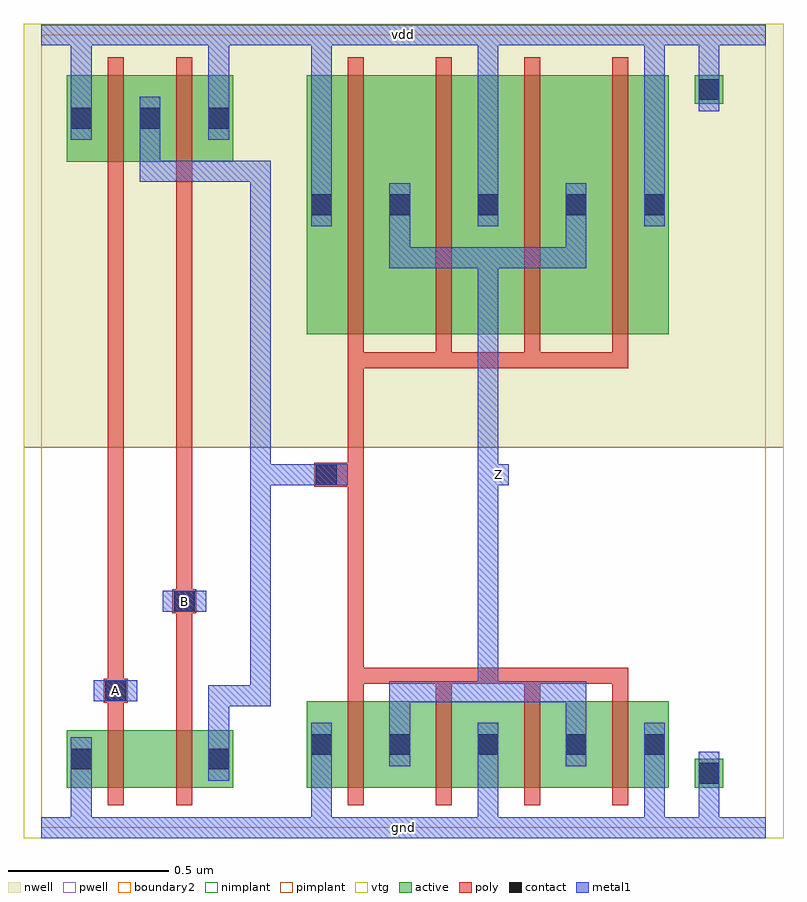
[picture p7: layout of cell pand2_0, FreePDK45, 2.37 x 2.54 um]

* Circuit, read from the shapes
.subckt pand2_0 A B Z gnd vdd
M1 pnand2_0_0/nmos_m1_w0_180_sm1_dactive_2/D A gnd gnd nfet w=0.18u l=0.05u
M2 pdriver_0_1/A B pnand2_0_0/nmos_m1_w0_180_sm1_dactive_2/D gnd nfet w=0.18u l=0.05u
M3 Z pdriver_0_1/A gnd gnd nfet w=0.27u l=0.05u m=4
M4 pdriver_0_1/A A vdd vdd pfet w=0.27u l=0.05u
M5 vdd B pdriver_0_1/A vdd pfet w=0.27u l=0.05u
M6 Z pdriver_0_1/A vdd vdd pfet w=0.81u l=0.05u m=4
.ends

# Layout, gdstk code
import gdstk
lib = gdstk.Library(unit=1e-6, precision=5e-10)
def R(c, l, rs):  # rectangles x0, y0, x1, y1
    for r in rs: c.add(gdstk.rectangle(r[:2], r[2:], *l))
def A(c, l, x, y, w, h, nx, ny, dx, dy):  # array of equal rectangles
    R(c, l, [(x+i*dx, y+j*dy, x+i*dx+w, y+j*dy+h) for i in range(nx) for j in range(ny)])
active = (1, 0)
pwell = (2, 0)
nwell = (3, 0)
nimplant = (4, 0)
pimplant = (5, 0)
vtg = (6, 0)
poly = (9, 0)
contact = (10, 0)
metal1 = (11, 0)
boundary2 = (239, 0)

contact_10 = lib.new_cell('contact_10')
R(contact_10, active, [(0,0.0225,0.09,0.1125)])
R(contact_10, nwell, [(-0.055,-0.0325,0.145,0.1675)])
R(contact_10, pimplant, [(0,0.0225,0.09,0.1125)])
R(contact_10, contact, [(0.0125,0.035,0.0775,0.1)])
R(contact_10, metal1, [(0.0125,0,0.0775,0.135)])
R(contact_10, boundary2, [(-0.055,-0.0325,0.145,0.1675)])

pmos_m1_w0_270_sm1_dm1 = lib.new_cell('pmos_m1_w0_270_sm1_dm1')
R(pmos_m1_w0_270_sm1_dm1, active, [(0,0,0.305,0.27)])
R(pmos_m1_w0_270_sm1_dm1, nwell, [(-0.08,-0.08,0.385,0.35)])
R(pmos_m1_w0_270_sm1_dm1, pimplant, [(0,0,0.305,0.27)])
R(pmos_m1_w0_270_sm1_dm1, vtg, [(-0.08,-0.08,0.385,0.35)])
R(pmos_m1_w0_270_sm1_dm1, poly, [(0.1275,-0.055,0.1775,0.325), (0.1275,-0.055,0.1775,0.325)])
R(pmos_m1_w0_270_sm1_dm1, metal1, [(0.0125,0.0675,0.0775,0.2025), (0.2275,0.0675,0.2925,0.2025)])
R(pmos_m1_w0_270_sm1_dm1, boundary2, [(-0.08,-0.08,0.385,0.35)])
pmos_m1_w0_270_sm1_dm1.add(gdstk.Reference(contact_10, (0,0.0675)))
pmos_m1_w0_270_sm1_dm1.add(gdstk.Reference(contact_10, (0.215,0.0675)))
pmos_m1_w0_270_sm1_dm1.add(gdstk.Label('S', (0.045,0.135), layer=11, texttype=0))
pmos_m1_w0_270_sm1_dm1.add(gdstk.Label('D', (0.26,0.135), layer=11, texttype=0))
pmos_m1_w0_270_sm1_dm1.add(gdstk.Label('G', (0.1525,0.135), layer=9, texttype=0))

contact_9 = lib.new_cell('contact_9')
R(contact_9, active, [(0,0.0225,0.09,0.1125)])
R(contact_9, pwell, [(-0.055,-0.0325,0.145,0.1675)])
R(contact_9, nimplant, [(0,0.0225,0.09,0.1125)])
R(contact_9, contact, [(0.0125,0.035,0.0775,0.1)])
R(contact_9, metal1, [(0.0125,0,0.0775,0.135)])
R(contact_9, boundary2, [(-0.055,-0.0325,0.145,0.1675)])

nmos_m1_w0_180_sm1_dacti = lib.new_cell('nmos_m1_w0_180_sm1_dactive')
R(nmos_m1_w0_180_sm1_dacti, active, [(0,0,0.305,0.18), (0.215,0.045,0.305,0.135)])
R(nmos_m1_w0_180_sm1_dacti, pwell, [(-0.08,-0.08,0.385,0.26)])
R(nmos_m1_w0_180_sm1_dacti, nimplant, [(0,0,0.305,0.18)])
R(nmos_m1_w0_180_sm1_dacti, vtg, [(-0.08,-0.08,0.385,0.26)])
R(nmos_m1_w0_180_sm1_dacti, poly, [(0.1275,-0.055,0.1775,0.235), (0.1275,-0.055,0.1775,0.235)])
R(nmos_m1_w0_180_sm1_dacti, metal1, [(0.0125,0.0225,0.0775,0.1575)])
R(nmos_m1_w0_180_sm1_dacti, boundary2, [(-0.08,-0.08,0.385,0.26)])
nmos_m1_w0_180_sm1_dacti.add(gdstk.Reference(contact_9, (0,0.0225)))
nmos_m1_w0_180_sm1_dacti.add(gdstk.Label('S', (0.045,0.09), layer=11, texttype=0))
nmos_m1_w0_180_sm1_dacti.add(gdstk.Label('D', (0.26,0.09), layer=1, texttype=0))
nmos_m1_w0_180_sm1_dacti.add(gdstk.Label('G', (0.1525,0.09), layer=9, texttype=0))

nmos_m1_w0_180_sactive_d = lib.new_cell('nmos_m1_w0_180_sactive_dm1')
R(nmos_m1_w0_180_sactive_d, active, [(0,0,0.305,0.18), (0,0.045,0.09,0.135)])
R(nmos_m1_w0_180_sactive_d, pwell, [(-0.08,-0.08,0.385,0.26)])
R(nmos_m1_w0_180_sactive_d, nimplant, [(0,0,0.305,0.18)])
R(nmos_m1_w0_180_sactive_d, vtg, [(-0.08,-0.08,0.385,0.26)])
R(nmos_m1_w0_180_sactive_d, poly, [(0.1275,-0.055,0.1775,0.235), (0.1275,-0.055,0.1775,0.235)])
R(nmos_m1_w0_180_sactive_d, metal1, [(0.2275,0.0225,0.2925,0.1575)])
R(nmos_m1_w0_180_sactive_d, boundary2, [(-0.08,-0.08,0.385,0.26)])
nmos_m1_w0_180_sactive_d.add(gdstk.Reference(contact_9, (0.215,0.0225)))
nmos_m1_w0_180_sactive_d.add(gdstk.Label('D', (0.26,0.09), layer=11, texttype=0))
nmos_m1_w0_180_sactive_d.add(gdstk.Label('S', (0.045,0.09), layer=1, texttype=0))
nmos_m1_w0_180_sactive_d.add(gdstk.Label('G', (0.1525,0.09), layer=9, texttype=0))

contact_13 = lib.new_cell('contact_13')
R(contact_13, poly, [(0.03,0,0.105,0.075)])
R(contact_13, contact, [(0.035,0.005,0.1,0.07)])
R(contact_13, metal1, [(0,0.005,0.135,0.07)])
R(contact_13, boundary2, [(0,0,0.135,0.075)])

pnand2_0 = lib.new_cell('pnand2_0')
R(pnand2_0, pwell, [(-0.055,-0.0325,0.805,1.1875)])
R(pnand2_0, nwell, [(-0.055,1.1875,0.805,2.51)])
R(pnand2_0, vtg, [(-0.055,-0.0325,0.805,1.1875), (-0.055,1.1875,0.805,2.51)])
R(pnand2_0, poly, [(0.2075,0.36,0.2575,2.025), (0.4225,0.36,0.4725,2.025), (0.2075,0.39,0.2325,0.465), (0.4225,0.67,0.4475,0.745)])
R(pnand2_0, metal1, [(0,-0.0325,0.75,0.0325), (0.0925,-0.0325,0.1575,0.1475), (0.5225,0.2825,0.5875,0.4125), (0.5225,0.38,0.5875,0.445), (0.555,0.38,0.685,0.445), (0.6525,0.38,0.7175,0.445), (0.165,0.395,0.3,0.46), (0.6525,0.4125,0.7175,2.05), (0.38,0.675,0.515,0.74), (0.3075,2.0175,0.3725,2.0825), (0.34,2.0175,0.685,2.0825), (0.6525,2.0175,0.7175,2.0825), (0.3075,2.05,0.3725,2.1475), (0.0925,2.1475,0.1575,2.5075), (0.5225,2.1475,0.5875,2.5075), (0,2.4425,0.75,2.5075)])
R(pnand2_0, boundary2, [(0,0,0.75,2.475), (0,0,0.75,2.475)])
pnand2_0.add(gdstk.Reference(pmos_m1_w0_270_sm1_dm1, (0.08,2.08)))
pnand2_0.add(gdstk.Reference(pmos_m1_w0_270_sm1_dm1, (0.295,2.08)))
pnand2_0.add(gdstk.Reference(nmos_m1_w0_180_sm1_dacti, (0.08,0.125)))
pnand2_0.add(gdstk.Reference(nmos_m1_w0_180_sactive_d, (0.295,0.125)))
pnand2_0.add(gdstk.Reference(contact_13, (0.165,0.39)))
pnand2_0.add(gdstk.Reference(contact_13, (0.38,0.67)))
pnand2_0.add(gdstk.Label('Z', (0.685,2.05), layer=11, texttype=0))
pnand2_0.add(gdstk.Label('gnd', (0.375,0), layer=11, texttype=0))
pnand2_0.add(gdstk.Label('vdd', (0.375,2.475), layer=11, texttype=0))
pnand2_0.add(gdstk.Label('A', (0.2325,0.4275), layer=11, texttype=0))
pnand2_0.add(gdstk.Label('B', (0.4475,0.7075), layer=11, texttype=0))

pmos_m4_w0_810_sm1_dm1_d = lib.new_cell('pmos_m4_w0_810_sm1_dm1_da_p')
R(pmos_m4_w0_810_sm1_dm1_d, active, [(0,0,1.13,0.81)])
R(pmos_m4_w0_810_sm1_dm1_d, nwell, [(-0.08,-0.08,1.21,0.89)])
R(pmos_m4_w0_810_sm1_dm1_d, pimplant, [(0,0,1.13,0.81)])
R(pmos_m4_w0_810_sm1_dm1_d, vtg, [(-0.08,-0.08,1.21,0.89)])
A(pmos_m4_w0_810_sm1_dm1_d, poly, 0.1275, -0.055, 0.05, 0.92, 4, 1, 0.275, 0)
R(pmos_m4_w0_810_sm1_dm1_d, poly, [(0.1275,-0.105,1.0025,-0.055)])
A(pmos_m4_w0_810_sm1_dm1_d, metal1, 0.0125, 0.3375, 0.065, 0.135, 3, 1, 0.52, 0)
R(pmos_m4_w0_810_sm1_dm1_d, metal1, [(0.2575,0.2075,0.8725,0.2725), (0.2575,0.24,0.3225,0.405), (0.8075,0.24,0.8725,0.405)])
R(pmos_m4_w0_810_sm1_dm1_d, boundary2, [(-0.08,-0.105,1.21,0.89)])
pmos_m4_w0_810_sm1_dm1_d.add(gdstk.Reference(contact_10, (0,0.3375)))
pmos_m4_w0_810_sm1_dm1_d.add(gdstk.Reference(contact_10, (0.245,0.3375)))
pmos_m4_w0_810_sm1_dm1_d.add(gdstk.Reference(contact_10, (0.52,0.3375)))
pmos_m4_w0_810_sm1_dm1_d.add(gdstk.Reference(contact_10, (0.795,0.3375)))
pmos_m4_w0_810_sm1_dm1_d.add(gdstk.Reference(contact_10, (1.04,0.3375)))
pmos_m4_w0_810_sm1_dm1_d.add(gdstk.Label('S', (0.045,0.405), layer=11, texttype=0))
pmos_m4_w0_810_sm1_dm1_d.add(gdstk.Label('S', (1.085,0.405), layer=11, texttype=0))
pmos_m4_w0_810_sm1_dm1_d.add(gdstk.Label('S', (0.565,0.405), layer=11, texttype=0))
pmos_m4_w0_810_sm1_dm1_d.add(gdstk.Label('D', (0.565,0.24), layer=11, texttype=0))
pmos_m4_w0_810_sm1_dm1_d.add(gdstk.Label('G', (0.565,-0.08), layer=9, texttype=0))

nmos_m4_w0_270_sm1_dm1_d = lib.new_cell('nmos_m4_w0_270_sm1_dm1_da_p')
R(nmos_m4_w0_270_sm1_dm1_d, active, [(0,0,1.13,0.27)])
R(nmos_m4_w0_270_sm1_dm1_d, pwell, [(-0.08,-0.08,1.21,0.35)])
R(nmos_m4_w0_270_sm1_dm1_d, nimplant, [(0,0,1.13,0.27)])
R(nmos_m4_w0_270_sm1_dm1_d, vtg, [(-0.08,-0.08,1.21,0.35)])
A(nmos_m4_w0_270_sm1_dm1_d, poly, 0.1275, -0.055, 0.05, 0.38, 4, 1, 0.275, 0)
R(nmos_m4_w0_270_sm1_dm1_d, poly, [(0.1275,0.325,1.0025,0.375)])
A(nmos_m4_w0_270_sm1_dm1_d, metal1, 0.0125, 0.0675, 0.065, 0.135, 3, 1, 0.52, 0)
R(nmos_m4_w0_270_sm1_dm1_d, metal1, [(0.2575,0.135,0.3225,0.3), (0.8075,0.135,0.8725,0.3), (0.2575,0.2675,0.8725,0.3325)])
R(nmos_m4_w0_270_sm1_dm1_d, boundary2, [(-0.08,-0.08,1.21,0.375)])
nmos_m4_w0_270_sm1_dm1_d.add(gdstk.Reference(contact_9, (0,0.0675)))
nmos_m4_w0_270_sm1_dm1_d.add(gdstk.Reference(contact_9, (0.245,0.0675)))
nmos_m4_w0_270_sm1_dm1_d.add(gdstk.Reference(contact_9, (0.52,0.0675)))
nmos_m4_w0_270_sm1_dm1_d.add(gdstk.Reference(contact_9, (0.795,0.0675)))
nmos_m4_w0_270_sm1_dm1_d.add(gdstk.Reference(contact_9, (1.04,0.0675)))
nmos_m4_w0_270_sm1_dm1_d.add(gdstk.Label('S', (0.045,0.135), layer=11, texttype=0))
nmos_m4_w0_270_sm1_dm1_d.add(gdstk.Label('S', (0.565,0.135), layer=11, texttype=0))
nmos_m4_w0_270_sm1_dm1_d.add(gdstk.Label('S', (1.085,0.135), layer=11, texttype=0))
nmos_m4_w0_270_sm1_dm1_d.add(gdstk.Label('D', (0.565,0.3), layer=11, texttype=0))
nmos_m4_w0_270_sm1_dm1_d.add(gdstk.Label('G', (0.565,0.35), layer=9, texttype=0))

contact_11 = lib.new_cell('contact_11')
R(contact_11, active, [(0,0.0225,0.09,0.1125)])
R(contact_11, nwell, [(-0.055,-0.0325,0.145,0.1675)])
R(contact_11, nimplant, [(0,0.0225,0.09,0.1125)])
R(contact_11, contact, [(0.0125,0.035,0.0775,0.1)])
R(contact_11, metal1, [(0.0125,0,0.0775,0.135)])
R(contact_11, boundary2, [(-0.055,-0.0325,0.145,0.1675)])

contact_12 = lib.new_cell('contact_12')
R(contact_12, active, [(0,0.0225,0.09,0.1125)])
R(contact_12, pwell, [(-0.055,-0.0325,0.145,0.1675)])
R(contact_12, pimplant, [(0,0.0225,0.09,0.1125)])
R(contact_12, contact, [(0.0125,0.035,0.0775,0.1)])
R(contact_12, metal1, [(0.0125,0,0.0775,0.135)])
R(contact_12, boundary2, [(-0.055,-0.0325,0.145,0.1675)])

pinv_5 = lib.new_cell('pinv_5')
R(pinv_5, pwell, [(-0.055,-0.0325,1.5675,1.1875)])
R(pinv_5, nwell, [(-0.055,1.1875,1.5675,2.51)])
R(pinv_5, vtg, [(-0.055,-0.0325,1.5675,1.1875), (-0.055,1.1875,1.5675,2.51)])
R(pinv_5, poly, [(0.2075,0.5,0.2575,1.435), (0.14,1.065,0.2075,1.14)])
A(pinv_5, metal1, 0.0925, -0.0325, 0.065, 0.225, 3, 1, 0.52, 0)
A(pinv_5, metal1, 0.0925, 1.8775, 0.065, 0.63, 3, 1, 0.52, 0)
R(pinv_5, metal1, [(0,-0.0325,1.5125,0.0325), (1.3025,0,1.3675,0.17), (0.6125,0.3925,0.6775,1.8125), (0.0725,1.07,0.2075,1.135), (0.645,1.07,0.71,1.135), (1.3025,2.305,1.3675,2.475), (0,2.4425,1.5125,2.5075)])
R(pinv_5, boundary2, [(0,0,1.5125,2.475), (0,0,1.5125,2.475)])
pinv_5.add(gdstk.Reference(pmos_m4_w0_810_sm1_dm1_d, (0.08,1.54)))
pinv_5.add(gdstk.Reference(nmos_m4_w0_270_sm1_dm1_d, (0.08,0.125)))
pinv_5.add(gdstk.Reference(contact_11, (1.29,2.2375)))
pinv_5.add(gdstk.Reference(contact_12, (1.29,0.1025)))
pinv_5.add(gdstk.Reference(contact_13, (0.0725,1.065)))
pinv_5.add(gdstk.Label('A', (0.14,1.1025), layer=11, texttype=0))
pinv_5.add(gdstk.Label('Z', (0.6775,1.1025), layer=11, texttype=0))
pinv_5.add(gdstk.Label('gnd', (0.756,0), layer=11, texttype=0))
pinv_5.add(gdstk.Label('vdd', (0.756,2.475), layer=11, texttype=0))

pdriver_0 = lib.new_cell('pdriver_0')
R(pdriver_0, pwell, [(-0.055,-0.0325,1.5675,1.1875)])
R(pdriver_0, nwell, [(-0.055,1.1875,1.5675,2.51)])
R(pdriver_0, vtg, [(-0.055,-0.0325,1.5675,1.1875), (-0.055,1.1875,1.5675,2.51)])
R(pdriver_0, metal1, [(0,-0.0325,1.5125,0.0325), (0.0725,1.07,0.2075,1.135), (0.645,1.07,0.71,1.135), (0,2.4425,1.5125,2.5075)])
R(pdriver_0, boundary2, [(0,0,1.5125,2.475), (0,0,1.5125,2.475)])
pdriver_0.add(gdstk.Reference(pinv_5, (0,0)))
pdriver_0.add(gdstk.Label('Z', (0.6775,1.1025), layer=11, texttype=0))
pdriver_0.add(gdstk.Label('A', (0.14,1.1025), layer=11, texttype=0))
pdriver_0.add(gdstk.Label('gnd', (0.756,0), layer=11, texttype=0))
pdriver_0.add(gdstk.Label('vdd', (0.756,2.475), layer=11, texttype=0))

pand2_0 = lib.new_cell('pand2_0')
R(pand2_0, metal1, [(0,-0.0325,2.2625,0.0325), (0.165,0.395,0.3,0.46), (0.38,0.675,0.515,0.74), (0.6525,1.07,0.7175,1.135), (0.685,1.07,0.89,1.135), (1.395,1.07,1.46,1.135), (0.6525,1.1025,0.7175,2.05), (0,2.4425,2.2625,2.5075)])
R(pand2_0, boundary2, [(0,0,2.2625,2.475), (0,0,2.2625,2.475)])
pand2_0.add(gdstk.Reference(pnand2_0, (0,0)))
pand2_0.add(gdstk.Reference(pdriver_0, (0.75,0)))
pand2_0.add(gdstk.Label('Z', (1.4275,1.1025), layer=11, texttype=0))
pand2_0.add(gdstk.Label('A', (0.2325,0.4275), layer=11, texttype=0))
pand2_0.add(gdstk.Label('B', (0.4475,0.7075), layer=11, texttype=0))
pand2_0.add(gdstk.Label('gnd', (1.131,0), layer=11, texttype=0))
pand2_0.add(gdstk.Label('vdd', (1.131,2.475), layer=11, texttype=0))

lib.write_gds('pand2_0.gds')
